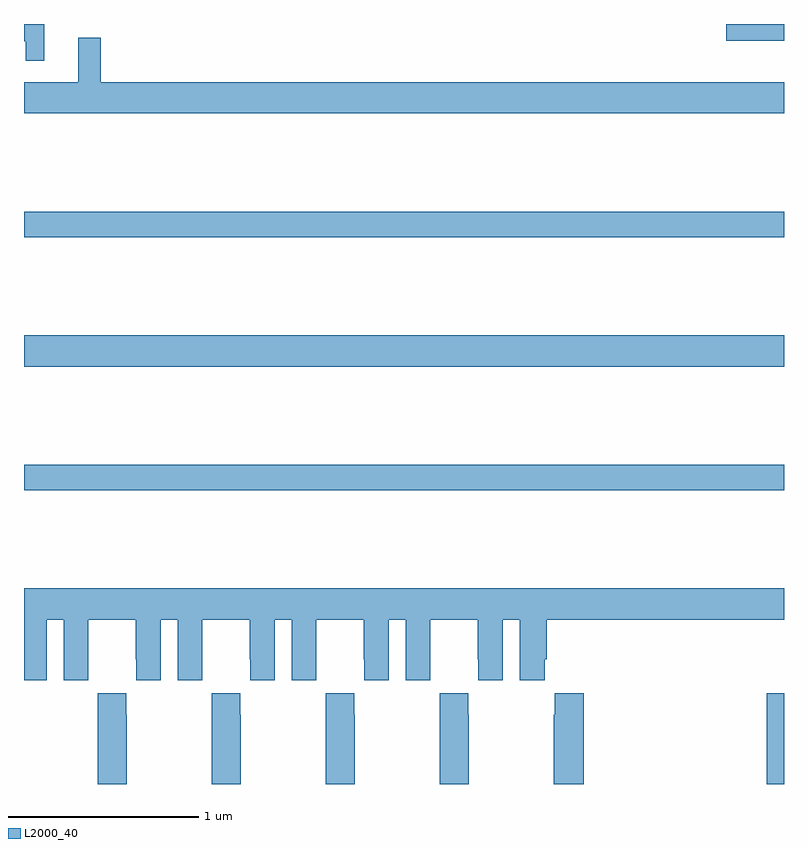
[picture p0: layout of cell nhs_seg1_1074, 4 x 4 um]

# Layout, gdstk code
import gdstk
lib = gdstk.Library(unit=1e-6, precision=1e-09)
def R(c, l, rs):  # rectangles x0, y0, x1, y1
    for r in rs: c.add(gdstk.rectangle(r[:2], r[2:], *l))
def P(c, l, *ps):  # polygons
    for p in ps: c.add(gdstk.Polygon(p, *l))
L2000_40 = (2000, 40)

nhs_seg1_1074 = lib.new_cell('nhs_seg1_1074')
R(nhs_seg1_1074, L2000_40, [(172.91,552.199,173,552.676), (169,553.744,173,553.88), (169,554.396,173,554.56), (169,555.076,173,555.212), (172.695,556.111,173,556.199)])
P(nhs_seg1_1074, L2000_40, [(169.107,556.199),(169,556.199),(169,556.107),(169.01,556.107),(169.01,556.005),(169.107,556.005)],
  [(173,555.892),(169.403,555.892),(169.403,556.126),(169.286,556.126),(169.286,555.892),(169,555.892),(169,555.728),(173,555.728)],
  [(169.12,553.064),(169.208,553.064),(169.208,552.744),(169.338,552.744),(169.338,552.856),(169.339,552.856),(169.339,553.064),(169.589,553.064),(169.589,552.856),(169.59,552.856),(169.59,552.744),(169.72,552.744),(169.72,553.064),(169.808,553.064),(169.808,552.744),(169.938,552.744),(169.938,552.856),(169.939,552.856),(169.939,553.064),(170.189,553.064),(170.189,552.856),(170.19,552.856),(170.19,552.744),(170.32,552.744),(170.32,553.064),(170.408,553.064),(170.408,552.744),(170.538,552.744),(170.538,552.856),(170.539,552.856),(170.539,553.064),(170.789,553.064),(170.789,552.856),(170.79,552.856),(170.79,552.744),(170.92,552.744),(170.92,553.064),(171.008,553.064),(171.008,552.744),(171.138,552.744),(171.138,552.856),(171.139,552.856),(171.139,553.064),(171.389,553.064),(171.389,552.856),(171.39,552.856),(171.39,552.744),(171.52,552.744),(171.52,553.064),(171.608,553.064),(171.608,552.744),(171.742,552.744),(171.742,552.856),(171.752,552.856),(171.752,553.064),(173,553.064),(173,553.228),(169,553.228),(169,552.744),(169.12,552.744)],
  [(170.142,552.563),(170.139,552.563),(170.139,552.676),(169.989,552.676),(169.989,552.563),(169.987,552.563),(169.987,552.199),(170.142,552.199)],
  [(171.947,552.676),(171.793,552.676),(171.793,552.563),(171.787,552.563),(171.787,552.199),(171.947,552.199)],
  [(171.342,552.563),(171.339,552.563),(171.339,552.676),(171.189,552.676),(171.189,552.563),(171.187,552.563),(171.187,552.199),(171.342,552.199)],
  [(170.742,552.563),(170.739,552.563),(170.739,552.676),(170.589,552.676),(170.589,552.563),(170.587,552.563),(170.587,552.199),(170.742,552.199)],
  [(169.542,552.563),(169.539,552.563),(169.539,552.676),(169.389,552.676),(169.389,552.563),(169.387,552.563),(169.387,552.199),(169.542,552.199)])

lib.write_gds('nhs_seg1_1074.gds')
